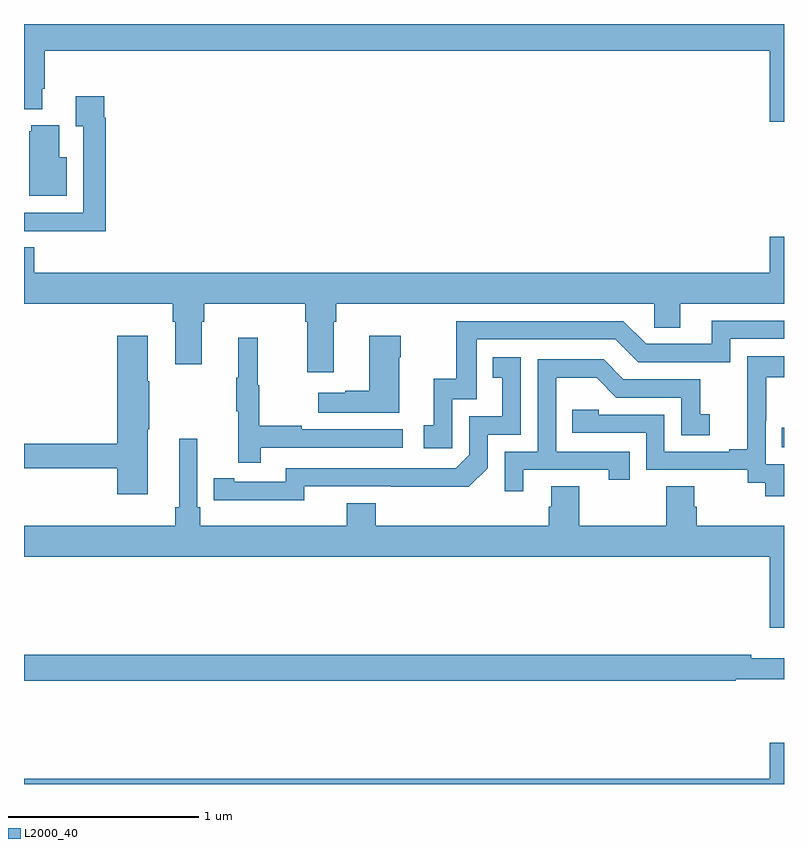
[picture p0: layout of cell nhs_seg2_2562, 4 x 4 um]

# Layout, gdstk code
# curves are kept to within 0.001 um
import gdstk
lib = gdstk.Library(unit=1e-6, precision=1e-09)
def R(c, l, rs):  # rectangles x0, y0, x1, y1
    for r in rs: c.add(gdstk.rectangle(r[:2], r[2:], *l))
def P(c, l, *ps):  # polygons
    for p in ps: c.add(gdstk.Polygon(p, *l))
L2000_40 = (2000, 40)

nhs_seg2_2562 = lib.new_cell('nhs_seg2_2562')
R(nhs_seg2_2562, L2000_40, [(248.989,621.573,249,621.674)])
P(nhs_seg2_2562, L2000_40, [(249,623.8),(245,623.8),(245,623.351),(245.095,623.351),(245.095,623.458),(245.108,623.458),(245.108,623.66),(248.924,623.66),(248.924,623.286),(249,623.286)],
  [(245.429,623.306),(245.422,623.306),(245.422,623.419),(245.273,623.419),(245.273,623.263),(245.313,623.263),(245.313,622.806),(245,622.806),(245,622.71),(245.137,622.71),(245.137,622.709),(245.429,622.709)],
  [(245.224,623.098),(245.185,623.098),(245.185,623.266),(245.039,623.266),(245.039,623.235),(245.027,623.235),(245.027,622.895),(245.224,622.895)],
  [(246.631,622.232),(246.644,622.232),(246.644,622.328),(248.316,622.328),(248.316,622.201),(248.455,622.201),(248.455,622.328),(249,622.328),(249,622.681),(248.924,622.681),(248.924,622.492),(245.054,622.492),(245.054,622.625),(245,622.625),(245,622.328),(245.783,622.328),(245.783,622.232),(245.795,622.232),(245.795,622.008),(245.935,622.008),(245.935,622.232),(245.948,622.232),(245.948,622.328),(246.479,622.328),(246.479,622.232),(246.491,622.232),(246.491,621.966),(246.631,621.966)],
  [(247.254,621.825),(247.383,621.825),(247.383,622.14),(248.112,622.14),(248.232,622.02),(248.718,622.02),(248.718,622.143),(249,622.143),(249,622.239),(248.621,622.239),(248.621,622.116),(248.274,622.116),(248.154,622.236),(247.275,622.236),(247.275,621.934),(247.157,621.934),(247.157,621.687),(247.104,621.687),(247.104,621.567),(247.254,621.567)],
  [(246.976,622.046),(246.984,622.046),(246.984,622.159),(246.818,622.159),(246.818,621.869),(246.692,621.869),(246.692,621.859),(246.549,621.859),(246.549,621.755),(246.976,621.755)],
  [(245.65,621.667),(245.658,621.667),(245.658,621.92),(245.65,621.92),(245.65,622.159),(245.492,622.159),(245.492,621.59),(245,621.59),(245,621.462),(245.492,621.462),(245.492,621.324),(245.65,621.324)],
  [(246.245,621.57),(246.994,621.57),(246.994,621.666),(246.461,621.666),(246.461,621.686),(246.238,621.686),(246.238,621.9),(246.23,621.9),(246.23,622.15),(246.128,622.15),(246.128,621.937),(246.117,621.937),(246.117,621.763),(246.128,621.763),(246.128,621.492),(246.245,621.492)],
  [(249,621.483),(248.904,621.483),(248.904,621.713),(248.906,621.713),(248.906,621.941),(249,621.941),(249,622.051),(248.806,622.051),(248.806,621.845),(248.807,621.845),(248.807,621.562),(248.711,621.562),(248.711,621.549),(248.37,621.549),(248.37,621.744),(248.025,621.744),(248.025,621.771),(247.885,621.771),(247.885,621.648),(248.274,621.648),(248.274,621.453),(248.808,621.453),(248.808,621.385),(248.901,621.385),(248.901,621.315),(249,621.315)],
  [(246.474,621.366),(247.342,621.365),(247.44,621.462),(247.44,621.639),(247.614,621.639),(247.614,622.045),(247.468,622.045),(247.468,621.939),(247.517,621.939),(247.517,621.735),(247.344,621.735),(247.344,621.534),(247.272,621.462),(246.378,621.462),(246.378,621.39),(246.106,621.39),(246.106,621.41),(245.998,621.41),(245.998,621.294),(246.474,621.293)],
  [(247.627,621.453),(248.078,621.453),(248.078,621.402),(248.189,621.402),(248.189,621.549),(247.8,621.549),(247.8,621.938),(248.014,621.938),(248.118,621.834),(248.46,621.834),(248.46,621.636),(248.608,621.636),(248.608,621.745),(248.559,621.745),(248.559,621.93),(248.155,621.93),(248.05,622.035),(247.704,622.035),(247.704,621.549),(247.53,621.549),(247.53,621.342),(247.627,621.342)],
  [(249,621.16),(248.54,621.16),(248.54,621.258),(248.527,621.258),(248.527,621.368),(248.38,621.368),(248.38,621.16),(247.923,621.16),(247.923,621.368),(247.775,621.368),(247.775,621.258),(247.763,621.258),(247.763,621.16),(246.851,621.16),(246.851,621.277),(246.698,621.277),(246.698,621.16),(245.927,621.16),(245.927,621.256),(245.913,621.256),(245.913,621.616),(245.816,621.616),(245.816,621.256),(245.797,621.256),(245.797,621.16),(245,621.16),(245,620.996),(248.924,620.996),(248.924,620.622),(249,620.622)],
  [(248.745,620.352),(249,620.352),(249,620.461),(248.828,620.461),(248.828,620.48),(245,620.48),(245,620.344),(248.745,620.344)],
  [(249,620.017),(248.924,620.017),(248.924,619.828),(245,619.828),(245,619.8),(249,619.8)])

lib.write_gds('nhs_seg2_2562.gds')
